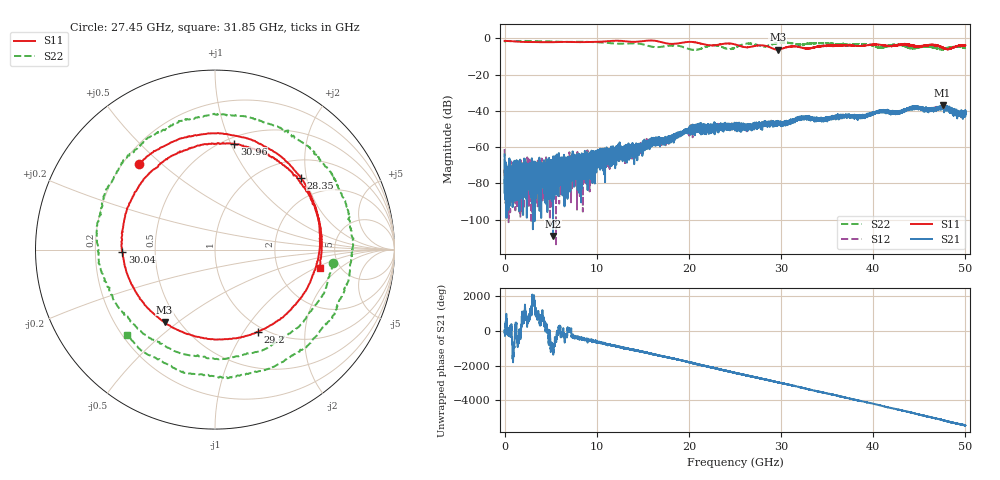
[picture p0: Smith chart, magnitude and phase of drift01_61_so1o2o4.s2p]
!Created with skrf (http://scikit-rf.org).
# Hz S RI R 50.0
!freq ReS11 ImS11 ReS21 ImS21 ReS12 ImS12 ReS22 ImS22
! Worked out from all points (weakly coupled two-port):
!   10001 points, 300 kHz to 50 GHz, reference 50 ohm
!   highest |S21| = -36.76 dB at 47.53 GHz (marker M1); lowest = -109.0 dB at 5.255 GHz (marker M2)
!   lowest |S11| = -6.2 dB at 29.64 GHz (marker M3), VSWR 2.94, Z = 21 - j22.4 ohm
!   |S11| at or under -10 dB: nowhere
!   |S22| runs from -6.4 to -1.4 dB; largest |S21 - S12| = 0.0042
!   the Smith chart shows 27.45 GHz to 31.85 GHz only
!   S11 on the Smith chart (normalised r, x): 27.45 GHz: 0.26, +0.43; 28.35 GHz: 1.41, +1.85; 29.2 GHz: 0.93, -1.16; 30.04 GHz: 0.32, -0.01; 30.96 GHz: 0.56, +1.03; 31.85 GHz: 3.53, -1.09
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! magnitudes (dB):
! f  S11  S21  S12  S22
! 300 kHz  -1.3  -64.0  -61.0  -2.1
! 260.3 MHz  -1.4  -87.9  -82.8  -1.4
! 5.255 GHz  -2.0  -109.0  -86.8  -1.6
! 8.335 GHz  -2.0  -67.6  -68.6  -1.8
! 11.42 GHz  -1.4  -64.0  -64.8  -2.6
! 14.24 GHz  -1.8  -61.8  -61.5  -2.8
! 16.67 GHz  -1.6  -56.6  -56.0  -4.8
! 18.62 GHz  -2.9  -53.8  -53.5  -3.9
! 20.35 GHz  -1.9  -51.8  -50.2  -6.2
! 22.62 GHz  -3.8  -50.6  -48.0  -3.8
! 25 GHz  -3.3  -50.8  -48.7  -5.0
! 27.45 GHz  -3.9  -47.9  -47.5  -3.6
! 28.35 GHz  -4.1  -46.5  -47.0  -4.3
! 29.2 GHz  -5.8  -47.1  -47.2  -3.0
! 29.64 GHz  -6.2  -48.0  -46.8  -2.5
! 30.04 GHz  -5.7  -47.0  -46.5  -2.2
! 30.96 GHz  -4.4  -46.5  -45.7  -2.4
! 31.85 GHz  -4.6  -44.1  -44.0  -3.3
! 33.34 GHz  -5.2  -44.3  -44.2  -2.7
! 41.67 GHz  -4.3  -40.7  -40.6  -4.1
! 47.53 GHz  -5.1  -36.8  -37.3  -5.7
! 50 GHz  -3.8  -41.7  -41.5  -5.2
